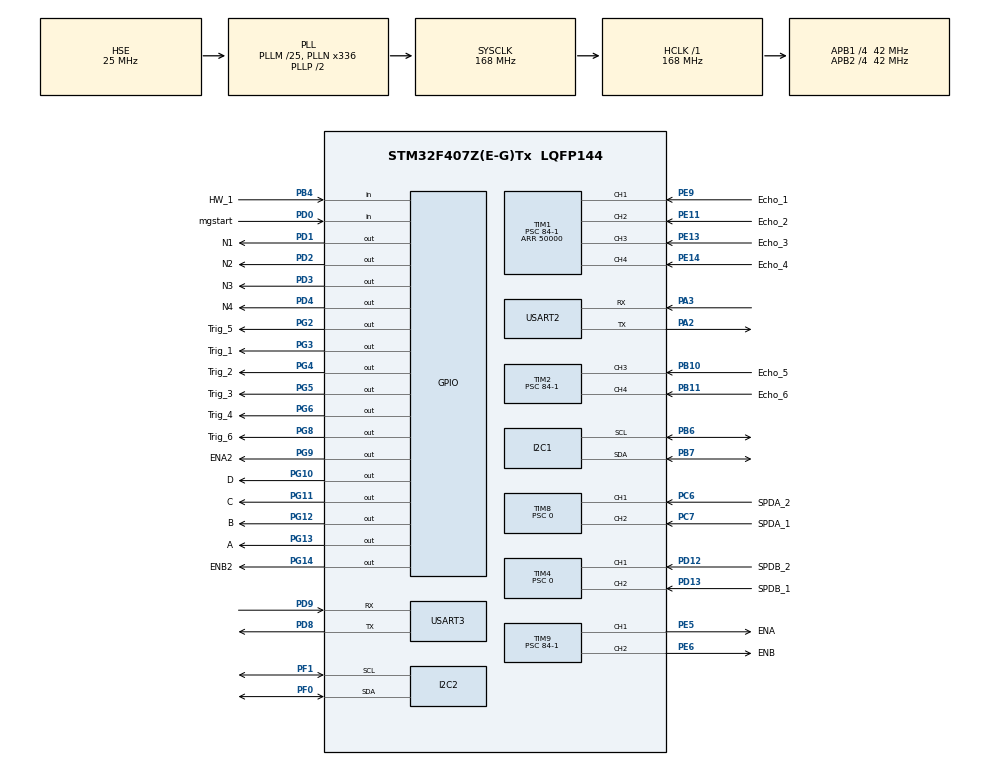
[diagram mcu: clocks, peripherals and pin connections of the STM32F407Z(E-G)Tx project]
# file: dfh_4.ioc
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Dma.Request0=USART2_RX
Dma.Request1=USART2_TX
Dma.Request2=USART3_RX
Dma.Request3=USART3_TX
Dma.USART2_RX.0.Direction=DMA_PERIPH_TO_MEMORY
Dma.USART2_RX.0.FIFOMode=DMA_FIFOMODE_DISABLE
Dma.USART2_RX.0.Instance=DMA1_Stream5
Dma.USART2_RX.0.MemDataAlignment=DMA_MDATAALIGN_BYTE
Dma.USART2_RX.0.MemInc=DMA_MINC_ENABLE
Dma.USART2_RX.0.Mode=DMA_CIRCULAR
Dma.USART2_RX.0.PeriphDataAlignment=DMA_PDATAALIGN_BYTE
Dma.USART2_RX.0.PeriphInc=DMA_PINC_DISABLE
Dma.USART2_RX.0.Priority=DMA_PRIORITY_HIGH
Dma.USART2_TX.1.Direction=DMA_MEMORY_TO_PERIPH
Dma.USART2_TX.1.FIFOMode=DMA_FIFOMODE_DISABLE
Dma.USART2_TX.1.Instance=DMA1_Stream6
Dma.USART2_TX.1.MemDataAlignment=DMA_MDATAALIGN_BYTE
Dma.USART2_TX.1.MemInc=DMA_MINC_ENABLE
Dma.USART2_TX.1.Mode=DMA_NORMAL
Dma.USART2_TX.1.PeriphDataAlignment=DMA_PDATAALIGN_BYTE
Dma.USART2_TX.1.PeriphInc=DMA_PINC_DISABLE
Dma.USART2_TX.1.Priority=DMA_PRIORITY_LOW
Dma.USART3_RX.2.Direction=DMA_PERIPH_TO_MEMORY
Dma.USART3_RX.2.FIFOMode=DMA_FIFOMODE_DISABLE
Dma.USART3_RX.2.Instance=DMA1_Stream1
Dma.USART3_RX.2.MemDataAlignment=DMA_MDATAALIGN_BYTE
Dma.USART3_RX.2.MemInc=DMA_MINC_ENABLE
Dma.USART3_RX.2.Mode=DMA_CIRCULAR
Dma.USART3_RX.2.PeriphDataAlignment=DMA_PDATAALIGN_BYTE
Dma.USART3_RX.2.PeriphInc=DMA_PINC_DISABLE
Dma.USART3_RX.2.Priority=DMA_PRIORITY_HIGH
Dma.USART3_TX.3.Direction=DMA_MEMORY_TO_PERIPH
Dma.USART3_TX.3.FIFOMode=DMA_FIFOMODE_DISABLE
Dma.USART3_TX.3.Instance=DMA1_Stream3
Dma.USART3_TX.3.MemDataAlignment=DMA_MDATAALIGN_BYTE
Dma.USART3_TX.3.MemInc=DMA_MINC_ENABLE
Dma.USART3_TX.3.Mode=DMA_NORMAL
Dma.USART3_TX.3.PeriphDataAlignment=DMA_PDATAALIGN_BYTE
Dma.USART3_TX.3.PeriphInc=DMA_PINC_DISABLE
Dma.USART3_TX.3.Priority=DMA_PRIORITY_LOW
FREERTOS.INCLUDE_vTaskDelayUntil=1
FREERTOS.INCLUDE_xQueueGetMutexHolder=0
FREERTOS.INCLUDE_xSemaphoreGetMutexHolder=0
FREERTOS.Tasks01=defaultTask,0,128,StartDefaultTask,Default,NULL
FREERTOS.configMINIMAL_STACK_SIZE=64
I2C1.I2C_Mode=I2C_Standard
I2C1.NoStretchMode=I2C_NOSTRETCH_DISABLE
Mcu.Family=STM32F4
Mcu.Name=STM32F407Z(E-G)Tx
Mcu.Package=LQFP144
NVIC.DMA1_Stream1_IRQn=true\:5\:0\:false\:false\:true\:true\:false
NVIC.DMA1_Stream3_IRQn=true\:5\:0\:false\:false\:true\:true\:false
NVIC.DMA1_Stream5_IRQn=true\:5\:0\:false\:false\:true\:true\:false
NVIC.DMA1_Stream6_IRQn=true\:5\:0\:false\:false\:true\:true\:false
NVIC.I2C1_ER_IRQn=true\:5\:0\:false\:false\:true\:true\:true
NVIC.I2C1_EV_IRQn=true\:5\:0\:false\:false\:true\:true\:true
NVIC.PriorityGroup=NVIC_PRIORITYGROUP_4
NVIC.TIM1_CC_IRQn=true\:5\:0\:false\:false\:true\:true\:true
NVIC.TIM2_IRQn=true\:5\:0\:false\:false\:true\:true\:true
NVIC.TIM8_TRG_COM_TIM14_IRQn=true\:0\:0\:false\:false\:true\:false\:false
NVIC.TimeBase=TIM8_TRG_COM_TIM14_IRQn
NVIC.TimeBaseIP=TIM14
NVIC.USART2_IRQn=true\:5\:0\:false\:false\:true\:true\:true
NVIC.USART3_IRQn=true\:5\:0\:false\:false\:true\:true\:true
PA13.Mode=Serial_Wire
PA13.Signal=SYS_JTMS-SWDIO
PA14.Mode=Serial_Wire
PA14.Signal=SYS_JTCK-SWCLK
PA2.Mode=Asynchronous
PA2.Signal=USART2_TX
PA3.Mode=Asynchronous
PA3.Signal=USART2_RX
PB10.GPIO_Label=Echo_5
PB10.GPIO_PuPd=GPIO_PULLUP
PB10.GPIO_Speed=GPIO_SPEED_FREQ_HIGH
PB10.Signal=S_TIM2_CH3
PB11.GPIO_Label=Echo_6
PB11.GPIO_PuPd=GPIO_PULLUP
PB11.GPIO_Speed=GPIO_SPEED_FREQ_HIGH
PB11.Signal=S_TIM2_CH4
PB4.GPIO_Label=HW_1
PB4.GPIO_PuPd=GPIO_PULLDOWN
PB4.Signal=GPIO_Input
PB6.GPIO_PuPdOD=GPIO_NOPULL
PB6.Mode=I2C
PB6.Signal=I2C1_SCL
PB7.GPIO_PuPdOD=GPIO_NOPULL
PB7.Mode=I2C
PB7.Signal=I2C1_SDA
PC14-OSC32_IN.Mode=LSE-External-Oscillator
PC14-OSC32_IN.Signal=RCC_OSC32_IN
PC15-OSC32_OUT.Mode=LSE-External-Oscillator
PC15-OSC32_OUT.Signal=RCC_OSC32_OUT
PC6.GPIO_Label=SPDA_2
PC6.GPIO_ModeDefaultPP=GPIO_MODE_AF_PP
PC6.GPIO_Speed=GPIO_SPEED_FREQ_VERY_HIGH
PC6.Signal=S_TIM8_CH1
PC7.GPIO_Label=SPDA_1
PC7.GPIO_ModeDefaultPP=GPIO_MODE_AF_PP
PC7.GPIO_Speed=GPIO_SPEED_FREQ_VERY_HIGH
PC7.Signal=S_TIM8_CH2
PD0.GPIO_Label=mgstart
PD0.GPIO_PuPd=GPIO_PULLDOWN
PD0.Signal=GPIO_Input
PD1.GPIO_Label=N1
PD1.GPIO_ModeDefaultOutputPP=GPIO_MODE_OUTPUT_OD
PD1.GPIO_Speed=GPIO_SPEED_FREQ_HIGH
PD1.Signal=GPIO_Output
PD12.GPIO_Label=SPDB_2
PD12.GPIO_ModeDefaultPP=GPIO_MODE_AF_PP
PD12.GPIO_Speed=GPIO_SPEED_FREQ_VERY_HIGH
PD12.Signal=S_TIM4_CH1
PD13.GPIO_Label=SPDB_1
PD13.GPIO_ModeDefaultPP=GPIO_MODE_AF_PP
PD13.GPIO_Speed=GPIO_SPEED_FREQ_VERY_HIGH
PD13.Signal=S_TIM4_CH2
PD2.GPIO_Label=N2
PD2.GPIO_ModeDefaultOutputPP=GPIO_MODE_OUTPUT_OD
PD2.GPIO_Speed=GPIO_SPEED_FREQ_HIGH
PD2.Signal=GPIO_Output
PD3.GPIO_Label=N3
PD3.GPIO_ModeDefaultOutputPP=GPIO_MODE_OUTPUT_OD
PD3.GPIO_Speed=GPIO_SPEED_FREQ_HIGH
PD3.Signal=GPIO_Output
PD4.GPIO_Label=N4
PD4.GPIO_ModeDefaultOutputPP=GPIO_MODE_OUTPUT_OD
PD4.GPIO_Speed=GPIO_SPEED_FREQ_HIGH
PD4.Signal=GPIO_Output
PD8.GPIO_Speed=GPIO_SPEED_FREQ_HIGH
PD8.Mode=Asynchronous
PD8.Signal=USART3_TX
PD9.GPIO_Speed=GPIO_SPEED_FREQ_VERY_HIGH
PD9.Mode=Asynchronous
PD9.Signal=USART3_RX
PE11.GPIO_Label=Echo_2
PE11.GPIO_PuPd=GPIO_PULLUP
PE11.GPIO_Speed=GPIO_SPEED_FREQ_HIGH
PE11.Signal=S_TIM1_CH2
PE13.GPIO_Label=Echo_3
PE13.GPIO_PuPd=GPIO_PULLUP
PE13.GPIO_Speed=GPIO_SPEED_FREQ_HIGH
PE13.Signal=S_TIM1_CH3
PE14.GPIO_Label=Echo_4
PE14.GPIO_PuPd=GPIO_PULLUP
PE14.GPIO_Speed=GPIO_SPEED_FREQ_HIGH
PE14.Signal=S_TIM1_CH4
PE5.GPIO_Label=ENA
PE5.GPIO_ModeDefaultPP=GPIO_MODE_AF_OD
PE5.GPIO_PuPd=GPIO_PULLDOWN
PE5.GPIO_Speed=GPIO_SPEED_FREQ_VERY_HIGH
PE5.Signal=S_TIM9_CH1
PE6.GPIO_Label=ENB
PE6.GPIO_ModeDefaultPP=GPIO_MODE_AF_OD
PE6.GPIO_PuPd=GPIO_PULLDOWN
PE6.GPIO_Speed=GPIO_SPEED_FREQ_VERY_HIGH
PE6.Signal=S_TIM9_CH2
PE9.GPIO_Label=Echo_1
PE9.GPIO_PuPd=GPIO_PULLUP
PE9.GPIO_Speed=GPIO_SPEED_FREQ_HIGH
PE9.Signal=S_TIM1_CH1
PF0.Mode=I2C
PF0.Signal=I2C2_SDA
PF1.Mode=I2C
PF1.Signal=I2C2_SCL
PG10.GPIO_Label=D
PG10.GPIO_ModeDefaultOutputPP=GPIO_MODE_OUTPUT_PP
PG10.GPIO_PuPd=GPIO_NOPULL
PG10.GPIO_Speed=GPIO_SPEED_FREQ_HIGH
PG10.Signal=GPIO_Output
PG11.GPIO_Label=C
PG11.GPIO_ModeDefaultOutputPP=GPIO_MODE_OUTPUT_PP
PG11.GPIO_Speed=GPIO_SPEED_FREQ_HIGH
PG11.Signal=GPIO_Output
PG12.GPIO_Label=B
PG12.GPIO_ModeDefaultOutputPP=GPIO_MODE_OUTPUT_PP
PG12.GPIO_Speed=GPIO_SPEED_FREQ_HIGH
PG12.Signal=GPIO_Output
PG13.GPIO_Label=A
PG13.GPIO_ModeDefaultOutputPP=GPIO_MODE_OUTPUT_PP
PG13.GPIO_Speed=GPIO_SPEED_FREQ_HIGH
PG13.Signal=GPIO_Output
PG14.GPIO_Label=ENB2
PG14.GPIO_ModeDefaultOutputPP=GPIO_MODE_OUTPUT_PP
PG14.GPIO_Speed=GPIO_SPEED_FREQ_HIGH
PG14.Signal=GPIO_Output
PG2.GPIO_Label=Trig_5
PG2.GPIO_Speed=GPIO_SPEED_FREQ_HIGH
PG2.Signal=GPIO_Output
PG3.GPIO_Label=Trig_1
PG3.GPIO_Speed=GPIO_SPEED_FREQ_HIGH
PG3.Signal=GPIO_Output
PG4.GPIO_Label=Trig_2
PG4.GPIO_Speed=GPIO_SPEED_FREQ_HIGH
PG4.Signal=GPIO_Output
PG5.GPIO_Label=Trig_3
PG5.GPIO_Speed=GPIO_SPEED_FREQ_HIGH
PG5.Signal=GPIO_Output
PG6.GPIO_Label=Trig_4
PG6.GPIO_Speed=GPIO_SPEED_FREQ_HIGH
PG6.Signal=GPIO_Output
PG8.GPIO_Label=Trig_6
PG8.GPIO_Speed=GPIO_SPEED_FREQ_HIGH
PG8.Signal=GPIO_Output
PG9.GPIO_Label=ENA2
PG9.GPIO_ModeDefaultOutputPP=GPIO_MODE_OUTPUT_PP
PG9.GPIO_PuPd=GPIO_NOPULL
PG9.GPIO_Speed=GPIO_SPEED_FREQ_HIGH
PG9.PinState=GPIO_PIN_RESET
PG9.Signal=GPIO_Output
PH0-OSC_IN.Mode=HSE-External-Oscillator
PH0-OSC_IN.Signal=RCC_OSC_IN
PH1-OSC_OUT.Mode=HSE-External-Oscillator
PH1-OSC_OUT.Signal=RCC_OSC_OUT
ProjectManager.HeapSize=0x200
ProjectManager.StackSize=0x400
ProjectManager.TargetToolchain=MDK-ARM V5
RCC.48MHZClocksFreq_Value=84000000
RCC.AHBFreq_Value=168000000
RCC.APB1CLKDivider=RCC_HCLK_DIV4
RCC.APB1Freq_Value=42000000
RCC.APB1TimFreq_Value=84000000
RCC.APB2CLKDivider=RCC_HCLK_DIV4
RCC.APB2Freq_Value=42000000
RCC.APB2TimFreq_Value=84000000
RCC.CortexFreq_Value=168000000
RCC.HCLKFreq_Value=168000000
RCC.HSE_VALUE=25000000
RCC.HSI_VALUE=16000000
RCC.PLLM=25
RCC.PLLN=336
RCC.PLLSourceVirtual=RCC_PLLSOURCE_HSE
RCC.SYSCLKFreq_VALUE=168000000
RCC.SYSCLKSource=RCC_SYSCLKSOURCE_PLLCLK
RCC.VCOOutputFreq_Value=336000000
SH.S_TIM1_CH1.0=TIM1_CH1,Input_Capture1_from_TI1
SH.S_TIM1_CH2.0=TIM1_CH2,Input_Capture2_from_TI2
SH.S_TIM1_CH3.0=TIM1_CH3,Input_Capture3_from_TI3
SH.S_TIM1_CH4.0=TIM1_CH4,Input_Capture4_from_TI4
SH.S_TIM2_CH3.0=TIM2_CH3,Input_Capture3_from_TI3
SH.S_TIM2_CH4.0=TIM2_CH4,Input_Capture4_from_TI4
SH.S_TIM4_CH1.0=TIM4_CH1,Encoder_Interface
SH.S_TIM4_CH2.0=TIM4_CH2,Encoder_Interface
SH.S_TIM8_CH1.0=TIM8_CH1,Encoder_Interface
SH.S_TIM8_CH2.0=TIM8_CH2,Encoder_Interface
SH.S_TIM9_CH1.0=TIM9_CH1,PWM Generation1 CH1
SH.S_TIM9_CH2.0=TIM9_CH2,PWM Generation2 CH2
TIM1.Channel-Input_Capture1_from_TI1=TIM_CHANNEL_1
TIM1.Channel-Input_Capture2_from_TI2=TIM_CHANNEL_2
TIM1.Channel-Input_Capture3_from_TI3=TIM_CHANNEL_3
TIM1.Channel-Input_Capture4_from_TI4=TIM_CHANNEL_4
TIM1.ICPolarity_CH1=TIM_INPUTCHANNELPOLARITY_BOTHEDGE
TIM1.ICPolarity_CH2=TIM_INPUTCHANNELPOLARITY_BOTHEDGE
TIM1.ICPolarity_CH3=TIM_INPUTCHANNELPOLARITY_BOTHEDGE
TIM1.ICPolarity_CH4=TIM_INPUTCHANNELPOLARITY_BOTHEDGE
TIM1.Period=50000
TIM1.Prescaler=84-1
TIM2.Channel-Input_Capture3_from_TI3=TIM_CHANNEL_3
TIM2.Channel-Input_Capture4_from_TI4=TIM_CHANNEL_4
TIM2.ICPolarity_CH3=TIM_INPUTCHANNELPOLARITY_BOTHEDGE
TIM2.ICPolarity_CH4=TIM_INPUTCHANNELPOLARITY_BOTHEDGE
TIM2.Period=50000
TIM2.Prescaler=84-1
TIM4.EncoderMode=TIM_ENCODERMODE_TI12
TIM4.Period=65535
TIM4.Prescaler=0
TIM8.EncoderMode=TIM_ENCODERMODE_TI12
TIM8.Period=65535
TIM8.Prescaler=0
TIM9.Channel-PWM\ Generation1\ CH1=TIM_CHANNEL_1
TIM9.Channel-PWM\ Generation2\ CH2=TIM_CHANNEL_2
TIM9.Period=10000-1
TIM9.Prescaler=84-1
USART2.VirtualMode=VM_ASYNC
USART3.OverSampling=UART_OVERSAMPLING_16
USART3.VirtualMode=VM_ASYNC
VP_FREERTOS_VS_ENABLE.Mode=Enabled
VP_SYS_VS_tim14.Mode=TIM14
VP_TIM1_VS_ClockSourceINT.Mode=Internal
VP_TIM2_VS_ClockSourceINT.Mode=Internal
VP_TIM9_VS_ClockSourceINT.Mode=Internal
board=dfh_4

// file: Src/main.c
/**
  ******************************************************************************
  * File Name          : main.c
  * Description        : Main program body
  ******************************************************************************
  * This notice applies to any and all portions of this file
  * that are not between comment pairs USER CODE BEGIN and
  * USER CODE END. Other portions of this file, whether
  * inserted by the user or by software development tools
  * are owned by their respective copyright owners.
  *
  * Copyright (c) 2017 STMicroelectronics International N.V.
  * All rights reserved.
  *
  * Redistribution and use in source and binary forms, with or without
  * modification, are permitted, provided that the following conditions are met:
  *
  * 1. Redistribution of source code must retain the above copyright notice,
  *    this list of conditions and the following disclaimer.
  * 2. Redistributions in binary form must reproduce the above copyright notice,
  *    this list of conditions and the following disclaimer in the documentation
  *    and/or other materials provided with the distribution.
  * 3. Neither the name of STMicroelectronics nor the names of other
  *    contributors to this software may be used to endorse or promote products
  *    derived from this software without specific written permission.
  * 4. This software, including modifications and/or derivative works of this
  *    software, must execute solely and exclusively on microcontroller or
  *    microprocessor devices manufactured by or for STMicroelectronics.
  * 5. Redistribution and use of this software other than as permitted under
  *    this license is void and will automatically terminate your rights under
  *    this license.
  *
  * THIS SOFTWARE IS PROVIDED BY STMICROELECTRONICS AND CONTRIBUTORS "AS IS"
  * AND ANY EXPRESS, IMPLIED OR STATUTORY WARRANTIES, INCLUDING, BUT NOT
  * LIMITED TO, THE IMPLIED WARRANTIES OF MERCHANTABILITY, FITNESS FOR A
  * PARTICULAR PURPOSE AND NON-INFRINGEMENT OF THIRD PARTY INTELLECTUAL PROPERTY
  * RIGHTS ARE DISCLAIMED TO THE FULLEST EXTENT PERMITTED BY LAW. IN NO EVENT
  * SHALL STMICROELECTRONICS OR CONTRIBUTORS BE LIABLE FOR ANY DIRECT, INDIRECT,
  * INCIDENTAL, SPECIAL, EXEMPLARY, OR CONSEQUENTIAL DAMAGES (INCLUDING, BUT NOT
  * LIMITED TO, PROCUREMENT OF SUBSTITUTE GOODS OR SERVICES; LOSS OF USE, DATA,
  * OR PROFITS; OR BUSINESS INTERRUPTION) HOWEVER CAUSED AND ON ANY THEORY OF
  * LIABILITY, WHETHER IN CONTRACT, STRICT LIABILITY, OR TORT (INCLUDING
  * NEGLIGENCE OR OTHERWISE) ARISING IN ANY WAY OUT OF THE USE OF THIS SOFTWARE,
  * EVEN IF ADVISED OF THE POSSIBILITY OF SUCH DAMAGE.
  *
  ******************************************************************************
  */
#include "main.h"
#include "stm32f4xx_hal.h"
#include "cmsis_os.h"

/* USER CODE BEGIN Includes */
#include "echo.h"
//#include "hmc5983.h"
//#include "flash.h"
#include "moto.h"
#include "uart.h"
#include "math.h"
#include "mpu.h"
//#include "dmpctl.h"
/* USER CODE END Includes */

I2C_HandleTypeDef hi2c1;
I2C_HandleTypeDef hi2c2;

TIM_HandleTypeDef htim1;
TIM_HandleTypeDef htim2;
TIM_HandleTypeDef htim4;
TIM_HandleTypeDef htim8;
TIM_HandleTypeDef htim9;

UART_HandleTypeDef huart2;
UART_HandleTypeDef huart3;
DMA_HandleTypeDef hdma_usart2_rx;
DMA_HandleTypeDef hdma_usart2_tx;
DMA_HandleTypeDef hdma_usart3_rx;
DMA_HandleTypeDef hdma_usart3_tx;

osThreadId defaultTaskHandle;

/* USER CODE BEGIN PV */
/* Private variables ---------------------------------------------------------*/

osThreadId Echo_1Handle;
osThreadId Echo_2Handle;
osThreadId Echo_3Handle;
osThreadId Echo_4Handle;
osThreadId Echo_5Handle;
osThreadId Echo_6Handle;
osThreadId startinitHandle;
osThreadId main_1Handle;

osThreadId moto_jzHandle;
osThreadId moto_controlHandle;
osThreadId TestHandle;
osThreadId mpuHandle;
osThreadId bzHandle;
/* USER CODE END PV */

void SystemClock_Config(void);
static void MX_GPIO_Init(void);
static void MX_DMA_Init(void);
static void MX_TIM1_Init(void);
static void MX_TIM2_Init(void);
static void MX_TIM4_Init(void);
static void MX_USART2_UART_Init(void);
static void MX_TIM9_Init(void);
static void MX_USART3_UART_Init(void);
static void MX_TIM8_Init(void);
static void MX_I2C1_Init(void);
static void MX_I2C2_Init(void);
void StartDefaultTask(void const * argument);

void HAL_TIM_MspPostInit(TIM_HandleTypeDef *htim);

/* USER CODE BEGIN PFP */
/* Private function prototypes -----------------------------------------------*/
 extern uint16_t EDjl1,EDjl2,EDjl3,EDjl4,EDjl5,EDjl6;
 extern int16_t YAW,PITCH,ROLL;
 extern uint16_t SA,SB,Timec;
 extern int16_t SPDA,SPDB;
/* USER CODE END PFP */

/* USER CODE BEGIN 0 */
extern void Echo_1task(void const * argument);
extern void Echo_2task(void const * argument);
extern void Echo_3task(void const * argument);
extern void Echo_4task(void const * argument);
extern void Echo_5task(void const * argument);
extern void Echo_6task(void const * argument);
void startinittask(void const * argument);
void main_1task(void const * argument);
void moto_jztask(void const * argument);
extern void moto_controltask(void const * argument);
extern void mputask(void const * argument);
void Testtask(void const * argument);
extern void bztask(void const * argument);
/* USER CODE END 0 */

int main(void)
{

  /* MCU Configuration----------------------------------------------------------*/

  /* Reset of all peripherals, Initializes the Flash interface and the Systick. */
  HAL_Init();

  /* USER CODE BEGIN Init */
  Echo_Init();

  /* USER CODE END Init */

  /* Configure the system clock */
  SystemClock_Config();

  /* Initialize all configured peripherals */
  MX_GPIO_Init();
  MX_DMA_Init();
  MX_TIM1_Init();
  MX_TIM2_Init();
  MX_TIM4_Init();
  MX_USART2_UART_Init();
  MX_TIM9_Init();
  MX_USART3_UART_Init();
  MX_TIM8_Init();
  MX_I2C1_Init();
  MX_I2C2_Init();

  /* USER CODE BEGIN 2 */
   HAL_TIM_PWM_Start(&htim9,TIM_CHANNEL_1);
   HAL_TIM_PWM_Start(&htim9,TIM_CHANNEL_2);
	HAL_TIM_Base_Start_IT(&htim1);
   HAL_TIM_Base_Start_IT(&htim2);
	HAL_TIM_IC_Start_IT(&htim1,TIM_CHANNEL_1);
	HAL_TIM_IC_Start_IT(&htim1,TIM_CHANNEL_2);
	HAL_TIM_IC_Start_IT(&htim1,TIM_CHANNEL_3);
	HAL_TIM_IC_Start_IT(&htim1,TIM_CHANNEL_4);
	HAL_TIM_IC_Start_IT(&htim2,TIM_CHANNEL_3);
	HAL_TIM_IC_Start_IT(&htim2,TIM_CHANNEL_4);

	HAL_TIM_Encoder_Start(&htim4,TIM_CHANNEL_1);
	HAL_TIM_Encoder_Start(&htim4,TIM_CHANNEL_2);
	HAL_TIM_Encoder_Start(&htim8,TIM_CHANNEL_1);
	HAL_TIM_Encoder_Start(&htim8,TIM_CHANNEL_2);
//	 GPIO_InitTypeDef GPIO_InitStruct;
//	 GPIO_InitStruct.Pin = GPIO_PIN_15;      //此行原有
//    GPIO_InitStruct.Mode = GPIO_MODE_OUTPUT_PP;   //GPIO配置为输出
//    GPIO_InitStruct.Speed = GPIO_SPEED_FREQ_HIGH;         //强上拉
//    HAL_GPIO_Init(GPIOG,&GPIO_InitStruct);
	 //UDelayUS(100000);
	// HAL_GPIO_WritePin(GPIOG, GPIO_PIN_15,GPIO_PIN_SET);
	//HAL_Delay(2000);

  /* USER CODE END 2 */

  /* Create the thread(s) */
  /* definition and creation of defaultTask */
  osThreadDef(defaultTask, StartDefaultTask, osPriorityNormal, 0, 128);
  defaultTaskHandle = osThreadCreate(osThread(defaultTask), NULL);

  /* USER CODE BEGIN RTOS_THREADS */
  /* add threads, ... */
  /* definition and creation of Echo_1 */
  osThreadDef(main_1, main_1task, osPriorityRealtime, 0, 256);
  main_1Handle = osThreadCreate(osThread(main_1), NULL);

  osThreadDef(Echo_1, Echo_1task, osPriorityRealtime, 0, 128);
  Echo_1Handle = osThreadCreate(osThread(Echo_1), NULL);

  /* definition and creation of Echo_2 */
  osThreadDef(Echo_2, Echo_2task, osPriorityRealtime, 0, 128);
  Echo_2Handle = osThreadCreate(osThread(Echo_2), NULL);

  /* definition and creation of Echo_3 */
  osThreadDef(Echo_3, Echo_3task, osPriorityRealtime, 0, 128);
  Echo_3Handle = osThreadCreate(osThread(Echo_3), NULL);

  /* definition and creation of Echo_4 */
  osThreadDef(Echo_4, Echo_4task, osPriorityRealtime, 0, 128);
  Echo_4Handle = osThreadCreate(osThread(Echo_4), NULL);

  osThreadDef(Echo_5,Echo_5task,osPriorityRealtime, 0, 128);
  Echo_5Handle = osThreadCreate(osThread(Echo_5), NULL);

  osThreadDef(Echo_6, Echo_6task, osPriorityRealtime, 0, 128);
  Echo_6Handle = osThreadCreate(osThread(Echo_6), NULL);

//  osThreadDef(startinit, startinittask, osPriorityNormal, 0, 64);
//  startinitHandle = osThreadCreate(osThread(startinit), NULL);

  osThreadDef(moto_control, moto_controltask, osPriorityRealtime, 0, 128);
  moto_controlHandle = osThreadCreate(osThread(moto_control), NULL);
  osThreadDef(moto_jz, moto_jztask, osPriorityRealtime, 0, 128);
  moto_jzHandle = osThreadCreate(osThread(moto_jz), NULL);

	osThreadDef(bz, bztask, osPriorityRealtime, 0,128);  //要调
	bzHandle = osThreadCreate(osThread(bz), NULL);
  /* definition and creation of Echo_5 */

//	osThreadDef(Test, Testtask, osPriorityRealtime, 0, 256);
//	TestHandle = osThreadCreate(osThread(Test), NULL);
  /* definition and creation of Echo_6 */

  osThreadDef(mpu, mputask, osPriorityRealtime, 0, 128);  //要调
  mpuHandle = osThreadCreate(osThread(mpu), NULL);
  /* USER CODE END RTOS_THREADS */

  /* Start scheduler */
  osKernelStart();

  /* We should never get here as control is now taken by the scheduler */

  /* Infinite loop */
  while (1)
  {

  }

}

/** System Clock Configuration
*/
void SystemClock_Config(void)
{

  RCC_OscInitTypeDef RCC_OscInitStruct;
  RCC_ClkInitTypeDef RCC_ClkInitStruct;

    /**Configure the main internal regulator output voltage
    */
  __HAL_RCC_PWR_CLK_ENABLE();

  __HAL_PWR_VOLTAGESCALING_CONFIG(PWR_REGULATOR_VOLTAGE_SCALE1);

    /**Initializes the CPU, AHB and APB busses clocks
    */
  RCC_OscInitStruct.OscillatorType = RCC_OSCILLATORTYPE_HSE;
  RCC_OscInitStruct.HSEState = RCC_HSE_ON;
  RCC_OscInitStruct.PLL.PLLState = RCC_PLL_ON;
  RCC_OscInitStruct.PLL.PLLSource = RCC_PLLSOURCE_HSE;
  RCC_OscInitStruct.PLL.PLLM = 25;
  RCC_OscInitStruct.PLL.PLLN = 336;
  RCC_OscInitStruct.PLL.PLLP = RCC_PLLP_DIV2;
  RCC_OscInitStruct.PLL.PLLQ = 4;
  if (HAL_RCC_OscConfig(&RCC_OscInitStruct) != HAL_OK)
  {
    _Error_Handler(__FILE__, __LINE__);
  }

    /**Initializes the CPU, AHB and APB busses clocks
    */
  RCC_ClkInitStruct.ClockType = RCC_CLOCKTYPE_HCLK|RCC_CLOCKTYPE_SYSCLK
                              |RCC_CLOCKTYPE_PCLK1|RCC_CLOCKTYPE_PCLK2;
  RCC_ClkInitStruct.SYSCLKSource = RCC_SYSCLKSOURCE_PLLCLK;
  RCC_ClkInitStruct.AHBCLKDivider = RCC_SYSCLK_DIV1;
  RCC_ClkInitStruct.APB1CLKDivider = RCC_HCLK_DIV4;
  RCC_ClkInitStruct.APB2CLKDivider = RCC_HCLK_DIV4;

  if (HAL_RCC_ClockConfig(&RCC_ClkInitStruct, FLASH_LATENCY_5) != HAL_OK)
  {
    _Error_Handler(__FILE__, __LINE__);
  }

    /**Configure the Systick interrupt time
    */
  HAL_SYSTICK_Config(HAL_RCC_GetHCLKFreq()/1000);

    /**Configure the Systick
    */
  HAL_SYSTICK_CLKSourceConfig(SYSTICK_CLKSOURCE_HCLK);

  /* SysTick_IRQn interrupt configuration */
  HAL_NVIC_SetPriority(SysTick_IRQn, 15, 0);
}

/* I2C1 init function */
static void MX_I2C1_Init(void)
{

  hi2c1.Instance = I2C1;
  hi2c1.Init.ClockSpeed = 100000;
  hi2c1.Init.DutyCycle = I2C_DUTYCYCLE_2;
  hi2c1.Init.OwnAddress1 = 0;
  hi2c1.Init.AddressingMode = I2C_ADDRESSINGMODE_7BIT;
  hi2c1.Init.DualAddressMode = I2C_DUALADDRESS_DISABLE;
  hi2c1.Init.OwnAddress2 = 0;
  hi2c1.Init.GeneralCallMode = I2C_GENERALCALL_DISABLE;
  hi2c1.Init.NoStretchMode = I2C_NOSTRETCH_DISABLE;
  if (HAL_I2C_Init(&hi2c1) != HAL_OK)
  {
    _Error_Handler(__FILE__, __LINE__);
  }

}

/* I2C2 init function */
static void MX_I2C2_Init(void)
{

  hi2c2.Instance = I2C2;
  hi2c2.Init.ClockSpeed = 100000;
  hi2c2.Init.DutyCycle = I2C_DUTYCYCLE_2;
  hi2c2.Init.OwnAddress1 = 0;
  hi2c2.Init.AddressingMode = I2C_ADDRESSINGMODE_7BIT;
  hi2c2.Init.DualAddressMode = I2C_DUALADDRESS_DISABLE;
  hi2c2.Init.OwnAddress2 = 0;
  hi2c2.Init.GeneralCallMode = I2C_GENERALCALL_DISABLE;
  hi2c2.Init.NoStretchMode = I2C_NOSTRETCH_DISABLE;
  if (HAL_I2C_Init(&hi2c2) != HAL_OK)
  {
    _Error_Handler(__FILE__, __LINE__);
  }

}

/* TIM1 init function */
static void MX_TIM1_Init(void)
{

  TIM_ClockConfigTypeDef sClockSourceConfig;
  TIM_MasterConfigTypeDef sMasterConfig;
  TIM_IC_InitTypeDef sConfigIC;

  htim1.Instance = TIM1;
  htim1.Init.Prescaler = 84-1;
  htim1.Init.CounterMode = TIM_COUNTERMODE_UP;
  htim1.Init.Period = 50000;
  htim1.Init.ClockDivision = TIM_CLOCKDIVISION_DIV1;
  htim1.Init.RepetitionCounter = 0;
  if (HAL_TIM_Base_Init(&htim1) != HAL_OK)
  {
    _Error_Handler(__FILE__, __LINE__);
  }

  sClockSourceConfig.ClockSource = TIM_CLOCKSOURCE_INTERNAL;
  if (HAL_TIM_ConfigClockSource(&htim1, &sClockSourceConfig) != HAL_OK)
  {
    _Error_Handler(__FILE__, __LINE__);
  }

  if (HAL_TIM_IC_Init(&htim1) != HAL_OK)
  {
    _Error_Handler(__FILE__, __LINE__);
  }

  sMasterConfig.MasterOutputTrigger = TIM_TRGO_RESET;
  sMasterConfig.MasterSlaveMode = TIM_MASTERSLAVEMODE_DISABLE;
  if (HAL_TIMEx_MasterConfigSynchronization(&htim1, &sMasterConfig) != HAL_OK)
  {
    _Error_Handler(__FILE__, __LINE__);
  }

  sConfigIC.ICPolarity = TIM_INPUTCHANNELPOLARITY_BOTHEDGE;
  sConfigIC.ICSelection = TIM_ICSELECTION_DIRECTTI;
  sConfigIC.ICPrescaler = TIM_ICPSC_DIV1;
  sConfigIC.ICFilter = 0;
  if (HAL_TIM_IC_ConfigChannel(&htim1, &sConfigIC, TIM_CHANNEL_1) != HAL_OK)
  {
    _Error_Handler(__FILE__, __LINE__);
  }

  if (HAL_TIM_IC_ConfigChannel(&htim1, &sConfigIC, TIM_CHANNEL_2) != HAL_OK)
  {
    _Error_Handler(__FILE__, __LINE__);
  }

  if (HAL_TIM_IC_ConfigChannel(&htim1, &sConfigIC, TIM_CHANNEL_3) != HAL_OK)
  {
    _Error_Handler(__FILE__, __LINE__);
  }

  if (HAL_TIM_IC_ConfigChannel(&htim1, &sConfigIC, TIM_CHANNEL_4) != HAL_OK)
  {
    _Error_Handler(__FILE__, __LINE__);
  }

}

/* TIM2 init function */
static void MX_TIM2_Init(void)
{

  TIM_ClockConfigTypeDef sClockSourceConfig;
  TIM_MasterConfigTypeDef sMasterConfig;
  TIM_IC_InitTypeDef sConfigIC;

  htim2.Instance = TIM2;
  htim2.Init.Prescaler = 84-1;
  htim2.Init.CounterMode = TIM_COUNTERMODE_UP;
  htim2.Init.Period = 50000;
  htim2.Init.ClockDivision = TIM_CLOCKDIVISION_DIV1;
  if (HAL_TIM_Base_Init(&htim2) != HAL_OK)
  {
    _Error_Handler(__FILE__, __LINE__);
  }

  sClockSourceConfig.ClockSource = TIM_CLOCKSOURCE_INTERNAL;
  if (HAL_TIM_ConfigClockSource(&htim2, &sClockSourceConfig) != HAL_OK)
  {
    _Error_Handler(__FILE__, __LINE__);
  }

  if (HAL_TIM_IC_Init(&htim2) != HAL_OK)
  {
    _Error_Handler(__FILE__, __LINE__);
  }

  sMasterConfig.MasterOutputTrigger = TIM_TRGO_RESET;
  sMasterConfig.MasterSlaveMode = TIM_MASTERSLAVEMODE_DISABLE;
  if (HAL_TIMEx_MasterConfigSynchronization(&htim2, &sMasterConfig) != HAL_OK)
  {
    _Error_Handler(__FILE__, __LINE__);
  }

  sConfigIC.ICPolarity = TIM_INPUTCHANNELPOLARITY_BOTHEDGE;
  sConfigIC.ICSelection = TIM_ICSELECTION_DIRECTTI;
  sConfigIC.ICPrescaler = TIM_ICPSC_DIV1;
  sConfigIC.ICFilter = 0;
  if (HAL_TIM_IC_ConfigChannel(&htim2, &sConfigIC, TIM_CHANNEL_3) != HAL_OK)
  {
    _Error_Handler(__FILE__, __LINE__);
  }

  if (HAL_TIM_IC_ConfigChannel(&htim2, &sConfigIC, TIM_CHANNEL_4) != HAL_OK)
  {
    _Error_Handler(__FILE__, __LINE__);
  }

}

/* TIM4 init function */
static void MX_TIM4_Init(void)
{

  TIM_Encoder_InitTypeDef sConfig;
  TIM_MasterConfigTypeDef sMasterConfig;

  htim4.Instance = TIM4;
  htim4.Init.Prescaler = 0;
  htim4.Init.CounterMode = TIM_COUNTERMODE_UP;
  htim4.Init.Period = 65535;
  htim4.Init.ClockDivision = TIM_CLOCKDIVISION_DIV1;
  sConfig.EncoderMode = TIM_ENCODERMODE_TI12;
  sConfig.IC1Polarity = TIM_ICPOLARITY_RISING;
  sConfig.IC1Selection = TIM_ICSELECTION_DIRECTTI;
  sConfig.IC1Prescaler = TIM_ICPSC_DIV1;
  sConfig.IC1Filter = 0;
  sConfig.IC2Polarity = TIM_ICPOLARITY_RISING;
  sConfig.IC2Selection = TIM_ICSELECTION_DIRECTTI;
  sConfig.IC2Prescaler = TIM_ICPSC_DIV1;
  sConfig.IC2Filter = 0;
  if (HAL_TIM_Encoder_Init(&htim4, &sConfig) != HAL_OK)
  {
    _Error_Handler(__FILE__, __LINE__);
  }

  sMasterConfig.MasterOutputTrigger = TIM_TRGO_RESET;
  sMasterConfig.MasterSlaveMode = TIM_MASTERSLAVEMODE_DISABLE;
  if (HAL_TIMEx_MasterConfigSynchronization(&htim4, &sMasterConfig) != HAL_OK)
  {
    _Error_Handler(__FILE__, __LINE__);
  }

}

/* TIM8 init function */
static void MX_TIM8_Init(void)
{

  TIM_Encoder_InitTypeDef sConfig;
  TIM_MasterConfigTypeDef sMasterConfig;

  htim8.Instance = TIM8;
  htim8.Init.Prescaler = 0;
  htim8.Init.CounterMode = TIM_COUNTERMODE_UP;
  htim8.Init.Period = 65535;
  htim8.Init.ClockDivision = TIM_CLOCKDIVISION_DIV1;
  htim8.Init.RepetitionCounter = 0;
  sConfig.EncoderMode = TIM_ENCODERMODE_TI12;
  sConfig.IC1Polarity = TIM_ICPOLARITY_RISING;
  sConfig.IC1Selection = TIM_ICSELECTION_DIRECTTI;
  sConfig.IC1Prescaler = TIM_ICPSC_DIV1;
  sConfig.IC1Filter = 0;
  sConfig.IC2Polarity = TIM_ICPOLARITY_RISING;
  sConfig.IC2Selection = TIM_ICSELECTION_DIRECTTI;
  sConfig.IC2Prescaler = TIM_ICPSC_DIV1;
  sConfig.IC2Filter = 0;
  if (HAL_TIM_Encoder_Init(&htim8, &sConfig) != HAL_OK)
  {
    _Error_Handler(__FILE__, __LINE__);
  }

  sMasterConfig.MasterOutputTrigger = TIM_TRGO_RESET;
  sMasterConfig.MasterSlaveMode = TIM_MASTERSLAVEMODE_DISABLE;
  if (HAL_TIMEx_MasterConfigSynchronization(&htim8, &sMasterConfig) != HAL_OK)
  {
    _Error_Handler(__FILE__, __LINE__);
  }

}

/* TIM9 init function */
static void MX_TIM9_Init(void)
{

  TIM_ClockConfigTypeDef sClockSourceConfig;
  TIM_OC_InitTypeDef sConfigOC;

  htim9.Instance = TIM9;
  htim9.Init.Prescaler = 84-1;
  htim9.Init.CounterMode = TIM_COUNTERMODE_UP;
  htim9.Init.Period = 10000-1;
  htim9.Init.ClockDivision = TIM_CLOCKDIVISION_DIV1;
  if (HAL_TIM_Base_Init(&htim9) != HAL_OK)
  {
    _Error_Handler(__FILE__, __LINE__);
  }

  sClockSourceConfig.ClockSource = TIM_CLOCKSOURCE_INTERNAL;
  if (HAL_TIM_ConfigClockSource(&htim9, &sClockSourceConfig) != HAL_OK)
  {
    _Error_Handler(__FILE__, __LINE__);
  }

  if (HAL_TIM_PWM_Init(&htim9) != HAL_OK)
  {
    _Error_Handler(__FILE__, __LINE__);
  }

  sConfigOC.OCMode = TIM_OCMODE_PWM1;
  sConfigOC.Pulse = 0;
  sConfigOC.OCPolarity = TIM_OCPOLARITY_HIGH;
  sConfigOC.OCFastMode = TIM_OCFAST_DISABLE;
  if (HAL_TIM_PWM_ConfigChannel(&htim9, &sConfigOC, TIM_CHANNEL_1) != HAL_OK)
  {
    _Error_Handler(__FILE__, __LINE__);
  }

  if (HAL_TIM_PWM_ConfigChannel(&htim9, &sConfigOC, TIM_CHANNEL_2) != HAL_OK)
  {
    _Error_Handler(__FILE__, __LINE__);
  }

  HAL_TIM_MspPostInit(&htim9);

}

/* USART2 init function */
static void MX_USART2_UART_Init(void)
{

  huart2.Instance = USART2;
  huart2.Init.BaudRate = 115200;
  huart2.Init.WordLength = UART_WORDLENGTH_8B;
  huart2.Init.StopBits = UART_STOPBITS_1;
  huart2.Init.Parity = UART_PARITY_NONE;
  huart2.Init.Mode = UART_MODE_TX_RX;
  huart2.Init.HwFlowCtl = UART_HWCONTROL_NONE;
  huart2.Init.OverSampling = UART_OVERSAMPLING_16;
  if (HAL_UART_Init(&huart2) != HAL_OK)
  {
    _Error_Handler(__FILE__, __LINE__);
  }

}

/* USART3 init function */
static void MX_USART3_UART_Init(void)
{

  huart3.Instance = USART3;
  huart3.Init.BaudRate = 115200;
  huart3.Init.WordLength = UART_WORDLENGTH_8B;
  huart3.Init.StopBits = UART_STOPBITS_1;
  huart3.Init.Parity = UART_PARITY_NONE;
  huart3.Init.Mode = UART_MODE_TX_RX;
  huart3.Init.HwFlowCtl = UART_HWCONTROL_NONE;
  huart3.Init.OverSampling = UART_OVERSAMPLING_16;
  if (HAL_UART_Init(&huart3) != HAL_OK)
  {
    _Error_Handler(__FILE__, __LINE__);
  }

}

static void MX_DMA_Init(void)
{
  /* DMA controller clock enable */
  __HAL_RCC_DMA1_CLK_ENABLE();

  /* DMA interrupt init */
  /* DMA1_Stream1_IRQn interrupt configuration */
  HAL_NVIC_SetPriority(DMA1_Stream1_IRQn, 5, 0);
  HAL_NVIC_EnableIRQ(DMA1_Stream1_IRQn);
  /* DMA1_Stream3_IRQn interrupt configuration */
  HAL_NVIC_SetPriority(DMA1_Stream3_IRQn, 5, 0);
  HAL_NVIC_EnableIRQ(DMA1_Stream3_IRQn);
  /* DMA1_Stream5_IRQn interrupt configuration */
  HAL_NVIC_SetPriority(DMA1_Stream5_IRQn, 5, 0);
  HAL_NVIC_EnableIRQ(DMA1_Stream5_IRQn);
  /* DMA1_Stream6_IRQn interrupt configuration */
  HAL_NVIC_SetPriority(DMA1_Stream6_IRQn, 5, 0);
  HAL_NVIC_EnableIRQ(DMA1_Stream6_IRQn);

}

/** Configure pins as
        * Analog
        * Input
        * Output
        * EVENT_OUT
        * EXTI
*/
static void MX_GPIO_Init(void)
{

  GPIO_InitTypeDef GPIO_InitStruct;

  /* GPIO Ports Clock Enable */
  __HAL_RCC_GPIOE_CLK_ENABLE();
  __HAL_RCC_GPIOC_CLK_ENABLE();
  __HAL_RCC_GPIOF_CLK_ENABLE();
  __HAL_RCC_GPIOH_CLK_ENABLE();
  __HAL_RCC_GPIOA_CLK_ENABLE();
  __HAL_RCC_GPIOB_CLK_ENABLE();
  __HAL_RCC_GPIOD_CLK_ENABLE();
  __HAL_RCC_GPIOG_CLK_ENABLE();

  /*Configure GPIO pin Output Level */
  HAL_GPIO_WritePin(GPIOG, Trig_5_Pin|Trig_1_Pin|Trig_2_Pin|Trig_3_Pin
                          |Trig_4_Pin|Trig_6_Pin|D_Pin|C_Pin
                          |B_Pin|A_Pin|ENB2_Pin|ENA2_Pin, GPIO_PIN_RESET);

  /*Configure GPIO pin Output Level */
  HAL_GPIO_WritePin(GPIOD, N1_Pin|N2_Pin|N3_Pin|N4_Pin, GPIO_PIN_RESET);

  /*Configure GPIO pin : HW_1_Pin */
  GPIO_InitStruct.Pin = HW_1_Pin;
  GPIO_InitStruct.Mode = GPIO_MODE_INPUT;
  GPIO_InitStruct.Pull = GPIO_PULLDOWN;
  HAL_GPIO_Init(HW_1_GPIO_Port, &GPIO_InitStruct);

  /*Configure GPIO pins : Trig_5_Pin Trig_1_Pin Trig_2_Pin Trig_3_Pin
                           Trig_4_Pin Trig_6_Pin */
  GPIO_InitStruct.Pin = Trig_5_Pin|Trig_1_Pin|Trig_2_Pin|Trig_3_Pin
                          |Trig_4_Pin|Trig_6_Pin;
  GPIO_InitStruct.Mode = GPIO_MODE_OUTPUT_PP;
  GPIO_InitStruct.Pull = GPIO_NOPULL;
  GPIO_InitStruct.Speed = GPIO_SPEED_FREQ_HIGH;
  HAL_GPIO_Init(GPIOG, &GPIO_InitStruct);

  /*Configure GPIO pin : mgstart_Pin */
  GPIO_InitStruct.Pin = mgstart_Pin;
  GPIO_InitStruct.Mode = GPIO_MODE_INPUT;
  GPIO_InitStruct.Pull = GPIO_PULLDOWN;
  HAL_GPIO_Init(mgstart_GPIO_Port, &GPIO_InitStruct);

  /*Configure GPIO pins : N1_Pin N2_Pin N3_Pin N4_Pin */
  GPIO_InitStruct.Pin = N1_Pin|N2_Pin|N3_Pin|N4_Pin;
  GPIO_InitStruct.Mode = GPIO_MODE_OUTPUT_OD;
  GPIO_InitStruct.Pull = GPIO_NOPULL;
  GPIO_InitStruct.Speed = GPIO_SPEED_FREQ_HIGH;
  HAL_GPIO_Init(GPIOD, &GPIO_InitStruct);

  /*Configure GPIO pins : D_Pin C_Pin B_Pin A_Pin
                           ENB2_Pin ENA2_Pin */
  GPIO_InitStruct.Pin = D_Pin|C_Pin|B_Pin|A_Pin
                          |ENB2_Pin|ENA2_Pin;
  GPIO_InitStruct.Mode = GPIO_MODE_OUTPUT_PP;
  GPIO_InitStruct.Pull = GPIO_NOPULL;
  GPIO_InitStruct.Speed = GPIO_SPEED_FREQ_HIGH;
  HAL_GPIO_Init(GPIOG, &GPIO_InitStruct);

}

/* USER CODE BEGIN 4 */
extern uint8_t moto_control1;

void startinittask(void const * argument)
{
	uint8_t aa = 0;
	//uint16_t shudu = 300;
	for(;;)
	{
		if(HAL_GPIO_ReadPin(mgstart_GPIO_Port,mgstart_Pin) == 0)
		{
			osDelay(10);
			if(HAL_GPIO_ReadPin(mgstart_GPIO_Port,mgstart_Pin) == 0)
			{
				osDelay(300);
				if(HAL_GPIO_ReadPin(mgstart_GPIO_Port,mgstart_Pin) == 1)
				{
					if(aa !=1)
					{
					   Echo_Init();
						TIM3->CCR1 = 500;
						moto_stop();
						moto_control1 = 0;
						osThreadDef(main_1, main_1task, osPriorityRealtime, 0, 128);
	               main_1Handle = osThreadCreate(osThread(main_1), NULL);
						osThreadDef(bz, bztask, osPriorityRealtime, 0, 128);  //要调
                  bzHandle = osThreadCreate(osThread(bz), NULL);
					   if(aa == 2) vTaskDelete(TestHandle);
					   aa = 1;
						vTaskSuspend(mpuHandle);

					}
					else
					{
						 vTaskDelete(main_1Handle);
					vTaskDelete(bzHandle);
						aa = 0;
						moto_stop();
						moto_control1 = 0;
					}

				}
				else
				{
					if(aa !=1)
					{
					while(HAL_GPIO_ReadPin(mgstart_GPIO_Port,mgstart_Pin) == 0){}
					osThreadDef(Test, Testtask, osPriorityNormal, 0, 256);
            	TestHandle = osThreadCreate(osThread(Test), NULL);
					aa = 2;
					}
				}
			}
		}
		osDelay(10);

  }
}

extern int32_t setSPA,setSPB;
int32_t setSPEED,speed;
uint8_t setangle,angleJS,motofrontorturn,setfangx = 0;//前后
extern int16_t ReadDisA,ReadDisB;

<<<<<<< HEAD
#define LowSpeed 5000
#define TurnDis 150
=======
#define LowSpeed 3000
#define TurnDis 140
>>>>>>> parent of 415e836... 淇敼3
#define LowDis 400
#define ChangeDis 300 //距离变化最大值
#define TurnTime 5

#define Turnworkdis 370 //检测转弯后继续行走距离

#define frontJ 1
#define backJ 2
#define front 5
#define back 6
#define right 4
#define left 3

void main_1task(void const * argument)
{
	//setangle = 0;
	angleJS = 0;
	motofrontorturn = 0;
<<<<<<< HEAD
	setSPEED = 9999;
	osDelay(500);
=======
	setSPEED = 7000;
	osDelay(1000);
>>>>>>> parent of 415e836... 淇敼3
	vTaskSuspend(mpuHandle);
	//HAL_GPIO_WritePin(GPIOG, GPIO_PIN_15,GPIO_PIN_SET);
	TickType_t xLastWakeTime;
	const TickType_t xFrequency = 5;
	xLastWakeTime = xTaskGetTickCount();
	for(;;)
	{
//		        ulTaskNotifyTake(pdTRUE,
//                 portMAX_DELAY); /* 无限等待 */
		//echo_1();

		switch(angleJS)//4为右 3为左
		{
			case 0:
			{
				if(EDjl1>LowDis)
				{
					if(EDjl2 > ChangeDis)
					{
						speed = LowSpeed;
						moto_control1 = front;
					}
					else
					{
						speed = setSPEED;
						moto_control1 = frontJ;
					}
				}
				else
				{
						speed = LowSpeed;
					 if(EDjl5 > ChangeDis)
					 {
						 if(EDjl3 < ChangeDis)
						 {
							 if(EDjl1 < TurnDis)
							{
								moto_control1 = right;
								vTaskSuspend(main_1Handle);
								angleJS = 1;
							}
						}
					}
				}
			}
			break;
			case 1:
			{
				if(EDjl1 > ChangeDis)
				{
					speed = setSPEED;
					moto_control1 = frontJ;
				}
				else
				{
					speed = LowSpeed;
					if(EDjl5 > ChangeDis)
					{
						if(EDjl3 < ChangeDis)
						{
							if(EDjl1 < TurnDis)
						   {
								moto_control1 = right;
								vTaskSuspend(main_1Handle);
								angleJS = 2;
							}
						}
					}
				}
			}
			break;
			case 2:
			{
				do
				{
					moto_control1 = frontJ;
					speed = setSPEED;
					osDelayUntil(&xLastWakeTime, xFrequency);
				}
				while(EDjl4 > ChangeDis);
				while(EDjl4 < ChangeDis)
				{
					moto_control1 = frontJ;
					speed = setSPEED;
					osDelayUntil(&xLastWakeTime, xFrequency);
				}
				while(EDjl4 > ChangeDis)
				{
					moto_control1 = frontJ;
					speed = LowSpeed;
               if(EDjl5 > ChangeDis)
					{
						moto_control1 = 0;
						moto_frontDis(Turnworkdis,Turnworkdis,LowSpeed);
						moto_control1 = left;
						vTaskSuspend(main_1Handle);
						angleJS = 3;
						break;
					}
					osDelayUntil(&xLastWakeTime, xFrequency);
				}
			}
	      break;
			case 3:
			{
				if(EDjl6 > LowDis)
				{
					if(EDjl3 > ChangeDis)
					{
						moto_control1 = back;
						speed = setSPEED;
					}
					else
					{
						moto_control1 = backJ;
						speed = setSPEED;
					}
				}
				else
				{
					if(EDjl5 > ChangeDis)
					{
						if(EDjl6 < TurnDis)
						{
							if(EDjl4 > ChangeDis)
							{

								moto_control1 = left;
								vTaskSuspend(main_1Handle);
								angleJS = 4;
							}
						}
						else
						{
							moto_control1 = back;
							speed = LowSpeed;
						}
					}
				}
			}
			break;
			case 4:
			{
				do
				{
					moto_control1 = backJ;
					speed = setSPEED;
					osDelayUntil(&xLastWakeTime, xFrequency);
				}
				while(EDjl5 > ChangeDis);
				while(EDjl5 < ChangeDis)
				{
					moto_control1 = backJ;
					speed = setSPEED;
					osDelayUntil(&xLastWakeTime, xFrequency);
				}
				while(EDjl5 > ChangeDis)
				{
					moto_control1 = backJ;
					speed = LowSpeed;
               if(EDjl4 > ChangeDis)
					{
						moto_control1 = 0;
						moto_backDis(Turnworkdis,Turnworkdis,LowSpeed);
						moto_control1 = right;
						vTaskSuspend(main_1Handle);
						angleJS = 5;
						break;
					}
					osDelayUntil(&xLastWakeTime, xFrequency);
				}
			}
	      break;
			case 5:
			{
				if(EDjl1 > LowDis)
				{
					if(EDjl2 > ChangeDis)
					{
						moto_control1 = front;
						speed = setSPEED;
					}
					else
					{
						moto_control1 = frontJ;
						speed = setSPEED;
					}
				}
				else
				{
					if(EDjl4 > ChangeDis)
					{
						if(EDjl1 < TurnDis)
						{
							if(EDjl5 > ChangeDis)
							{

								moto_control1 = right;
								vTaskSuspend(main_1Handle);
								angleJS = 6;

							}
						}
						else
						{
							moto_control1 = front;
							speed = LowSpeed;
						}
					}
				}
			}
			break;
//			case 6:
//			{
//            setfangx ++;
// 				if(setfangx == 2) angleJS = 7;
//				else angleJS = 2;
//			}
//	      break;
			case 6:
			{
				do
				{
					moto_control1 = frontJ;
					speed = setSPEED;
					osDelayUntil(&xLastWakeTime, xFrequency);
				}
				while(EDjl4 > ChangeDis);
				while(EDjl4 < ChangeDis)
				{
					moto_control1 = frontJ;
					speed = setSPEED;
					osDelayUntil(&xLastWakeTime, xFrequency);
				}
				while(EDjl4 > ChangeDis)
				{
					moto_control1 = frontJ;
					speed = LowSpeed;
               if(EDjl5 > ChangeDis)
					{
						moto_control1 = 0;
						moto_frontDis(Turnworkdis,Turnworkdis,LowSpeed);
						moto_control1 = left;
						vTaskSuspend(main_1Handle);
						angleJS = 7;
						break;
						//goto s;
					}
					osDelayUntil(&xLastWakeTime, xFrequency);
				}

			}
	      break;
			case 7:
			{
				if(EDjl6 > LowDis)
				{
					if(EDjl3 > ChangeDis)
					{
						moto_control1 = back;
						speed = setSPEED;
					}
					else
					{
						moto_control1 = backJ;
						speed = setSPEED;
					}
				}
				else
				{
					if(EDjl5 > ChangeDis)
					{
						if(EDjl6 < TurnDis)
						{
							if(EDjl4 > ChangeDis)
							{

								moto_control1 = left;
								vTaskSuspend(main_1Handle);
								angleJS = 8;
							}
						}
						else
						{
							moto_control1 = back;
							speed = LowSpeed;
						}
					}
				}
			}
			break;
			case 8:
			{
				do
				{
					moto_control1 = backJ;
					speed = setSPEED;
					osDelayUntil(&xLastWakeTime, xFrequency);
				}
				while(EDjl5 > ChangeDis);
				while(EDjl5 < ChangeDis)
				{
					moto_control1 = backJ;
					speed = setSPEED;
					osDelayUntil(&xLastWakeTime, xFrequency);
				}
				while(EDjl5 > ChangeDis)
				{
					moto_control1 = backJ;
					speed = LowSpeed;
               if(EDjl4 > ChangeDis)
					{
						moto_control1 = 0;
						moto_backDis(Turnworkdis,Turnworkdis,LowSpeed);
						moto_control1 = right;
						vTaskSuspend(main_1Handle);
						angleJS = 9;
						break;
					}
					osDelayUntil(&xLastWakeTime, xFrequency);
				}
			}
	      break;
			case 9:
			{
				if(EDjl1 > LowDis)
				{
					if(EDjl2 > ChangeDis)
					{
						moto_control1 = front;
						speed = setSPEED;
					}
					else
					{
						moto_control1 = frontJ;
						speed = setSPEED;
					}
				}
				else
				{
					if(EDjl4 > ChangeDis)
					{
						if(EDjl1 < TurnDis)
						{
							if(EDjl5 > ChangeDis)
							{

								moto_control1 = right;
								vTaskSuspend(main_1Handle);
								angleJS = 10;

							}
						}
						else
						{
							moto_control1 = front;
							speed = LowSpeed;
						}
					}
				}
			}
			break;
			case 10:
			{
				do
				{
					moto_control1 = frontJ;
					speed = setSPEED;
					osDelayUntil(&xLastWakeTime, xFrequency);
				}
				while(EDjl4 > ChangeDis);
				while(EDjl4 < ChangeDis)
				{
					moto_control1 = frontJ;
					speed = setSPEED;
					osDelayUntil(&xLastWakeTime, xFrequency);
				}
				while(EDjl4 > ChangeDis)
				{
					moto_control1 = frontJ;
					speed = LowSpeed;
               if(EDjl1 < TurnDis)
					{
						moto_control1 = right;
						vTaskSuspend(main_1Handle);
						angleJS = 11;
						break;
					}
					osDelayUntil(&xLastWakeTime, xFrequency);
				}
			}
			break;
			case 11:
			{
				if(EDjl1>LowDis)
				{
					speed = setSPEED;
					moto_control1 = frontJ;
				}
				else
				{
					speed = LowSpeed;
					moto_control1 = front;
					 if(EDjl4 > ChangeDis)
					 {
						// if(EDjl5 > ChangeDis)
						 //{
							 if(EDjl1 < TurnDis)
							{
								moto_control1 = right;
								vTaskSuspend(main_1Handle);
								angleJS = 12;
							}
						//}
					}
				}
			}
			break;
			case 12:
			{
				if(EDjl2 < ChangeDis)
				{
					speed = setSPEED;
					moto_control1 = backJ;
				}
				else
				{
					moto_control1 = 0;
					moto_stop();
					angleJS = 14;
				}
			}
			break;
			default:break;
		}

//		if(angleJS<10)   ///3为右 4为左
//		{
//					if(setangle == 1)
//					{
//						if(EDjl1>LowDis)
//						{
//							if(EDjl3>300)
//							{
//								if(EDjl5>300)
//								{
//									if(motofrontorturn == 0)
//									{
//										if(!(EDjl2<300&EDjl4<300))
//										{
//											speed = LowSpeed;
//											moto_control1 = 5;
//										}
//									}
//								}
//							}
//							if(EDjl2>300)
//							{
////								if(EDjl3>300)////改过
////								{
////									if(EDjl5>300)
////									{
//////										setSPA = 3000;
//////										setSPB = 3000;
//////										moto_front();
////									}
////								}
//							}
//							else
//							{
//								  if(angleJS>=2)
//								  {
//									  if(EDjl5<300)
//									  {
//										  if(EDjl3<300)
//										  {
//											  motofrontorturn = 1;
//										  }
//									  }
//								  }
//								  if(EDjl4<300)
//								  {
//									speed = setSPEED;
//
//									moto_control1 = 1;
//								  }/////？？？？
//								if(EDjl3<300)
//								{
//                           speed = setSPEED;
//
//									moto_control1 = 1;
//									if(EDjl4>300&angleJS>=2)//g
//									 {
//										 if(motofrontorturn == 1)
//										 {
//											 if(EDjl5>300)//g
//											 {
//													moto_control1 = 4;
//													vTaskSuspend(main_1Handle);
//													angleJS++;///js = 3
//													setangle = 0;
//													motofrontorturn = 0;
//											 }
//										 }
//									}
//								 }
//							}

//						}
//						else
//						{
//							if(angleJS<2)
//							{
//								if(EDjl2<300)
//								{
//									if(EDjl3<300)
//									{
//
//										if(EDjl1<TurnDis)
//										{
//											if(EDjl4>300)
//											{
//												if(EDjl5>300)
//												{
//													moto_control1 = 3;
//													vTaskSuspend(main_1Handle);
//													angleJS++;
//													motofrontorturn = 0;
//												}
//											}
//										}
//										else
//										{
//											speed = LowSpeed;
//
//											moto_control1 = 1;
//										}
//									}
//								}
//							}
//							else
//							{
//								//if(angleJS<10)
//								//{
//									if(EDjl1<TurnDis)
//									{
//										if(EDjl3>300)
//										{
//											if(EDjl5>300)
//											{
//												moto_control1 = 3;
//												vTaskSuspend(main_1Handle);
//												angleJS++;	///666666
//												motofrontorturn = 0;
//											}
//										}
//
//									}
//									else
//									{
//											speed = LowSpeed;
//											moto_control1 = 5;
//
//									}
//
//
//							//}
//						}
//						}
//					}
//					else ///setangle = 0;
//					{
//						if(EDjl1<LowDis)//g
//						{
//							if(EDjl2>300)
//							{
//								if(EDjl4>300)
//								{
//									if(motofrontorturn == 0)
//									{
//										speed = LowSpeed;
//										moto_control1 = 6;
//
//									}
//								}
//							}
//						}
//						else
//						{
//							if(EDjl3<300)
//							{
//									speed = setSPEED;
//								    //moto_back();//g
//									moto_control1 = 2;
//								if(EDjl4<300) motofrontorturn = 1;
//								else
//								{
//									if(EDjl5>300)
//									{
//										if(motofrontorturn == 1)
//										{
//											moto_control1 = 3;
//											vTaskSuspend(main_1Handle);
//											angleJS++; ///5555
//											motofrontorturn = 0;
//											setangle = 1;
//										}
//									}
//								}
//							}
//							if(EDjl6<=LowDis&setangle == 0)
//							{
//								if(EDjl3>300)
//								{
//									speed = LowSpeed;
//									moto_control1 = 6;
//
//									if(EDjl5>300)
//									{
//										if(EDjl4>300)
//										{
//											if(EDjl6<TurnDis)
//											{
//												moto_control1 = 4;
//												vTaskSuspend(main_1Handle);
//												angleJS++; // 44444
//												motofrontorturn = 0;
//
//											}
//
//										}
//									}
//								}
//							}
//						}
//					}
//			//		if(angleJS == 2)
//			//		{
//			//			moto_stop();
//			//			moto_control1 = 0;
//			//		}
//
//		}
//      else
//		{
//			if(EDjl1>LowDis)
//			{
//			  if(EDjl2<300)
//			  {
//				  if(EDjl3<300)
//				  {
//					  if(motofrontorturn != 2)
//					  {
//						speed = setSPEED;
//
//						moto_control1 = 1;
//					  }
//					  else
//					  {
//						speed = setSPEED;
//
//						moto_control1 = 2;
//					  }
//				  }
//			  }
//			  else
//			  {
//				  if(EDjl4>300)
//				  {
//					  if(angleJS >= 12)
//					  {
//						  if(EDjl3>300)
//						  {
//							  osDelay(500);
//							  moto_stop();
//							  moto_control1 = 0;
//							  vTaskDelete(main_1Handle);
//						  }
//					  }
//				  }
//			  }
//		   }
//			else
//			{
//				if(EDjl2<300)
//				{
//					if(EDjl3<300)
//					{
//						if(EDjl1<TurnDis)
//						{
//							if(EDjl5>300)
//							{
//								moto_control1 = 3;
//								vTaskSuspend(main_1Handle);
//								angleJS++;
//								//motofrontorturn = 0;
//							}
//						}
//						else
//						{
//							speed = LowSpeed;
//
//							moto_control1 = 1;
//						}
//					}
//				}
//				else
//				{
//					if(EDjl1<TurnDis)
//					{
//						if(EDjl3>300)
//						{
//							moto_control1 = 3;
//						   vTaskSuspend(main_1Handle);
//						   angleJS++;
//							//moto_back();
//							//moto_control1 = 2;
//							motofrontorturn = 2;
//						}
//					}
//					else
//					{
//							speed = LowSpeed;
//
//							moto_control1 = 5;
//					}
//				}
//			}
//		}

		osDelayUntil(&xLastWakeTime, xFrequency);
		//osDelay (5);
	}
}

void Testtask(void const * argument)
{
  /* USER CODE BEGIN StartTask05 */
  /* Infinite loop */
	//uint8_t JL[] = {"前    cm左   cm右   cm后   cm"};
	uint16_t c;
uint8_t JL[] = {"F---.- L---.- E---.- R---.- G---.- B---.- ---°  -----, -----, ----- --- ---\n\r"};
//uint8_t JL1[] = {"--------------------------\n\r"};
	TickType_t xLastWakeTime;
	const TickType_t xFrequency = 20;
	xLastWakeTime = xTaskGetTickCount();
  for(;;)
  {

		print_usart2("F%d\r\nL%d\r\nE%d\r\nR%d\r\nG%d\r\nB%d\r\n",EDjl1,EDjl2,EDjl3,EDjl4,EDjl5,EDjl6);

	    //angle1 = angle;
	   //JL[1] = echo1[0]/10000+48;
		JL[1] = EDjl1%10000/1000+48;
		JL[2] = EDjl1%10000%1000/100+48;
		JL[3] = EDjl1%10000%1000%100/10+48;
	   JL[5] = EDjl1%10000%1000%100%10+48;

	  //	JL[11] = echo1[1]/10000+48;
		JL[8] = EDjl2%10000/1000+48;
		JL[9] = EDjl2%10000%1000/100+48;
		JL[10] = EDjl2%10000%1000%100/10+48;
	   JL[12] = EDjl2%10000%1000%100%10+48;

	  // JL[21] = EDjl1/10000+48;
		JL[15] = EDjl3%10000/1000+48;
		JL[16] = EDjl3%10000%1000/100+48;
		JL[17] = EDjl3%10000%1000%100/10+48;
	   JL[19] = EDjl3%10000%1000%100%10+48;

   	//JL[14] = EDjl4/10000+48;
		JL[22] = EDjl4%10000/1000+48;
		JL[23] = EDjl4%10000%1000/100+48;
		JL[24] = EDjl4%10000%1000%100/10+48;
	   JL[26] = EDjl4%10000%1000%100%10+48;

		JL[29] = EDjl5%10000/1000+48;
		JL[30] = EDjl5%10000%1000/100+48;
		JL[31] = EDjl5%10000%1000%100/10+48;
	   JL[33] = EDjl5%10000%1000%100%10+48;

   	//JL[14] = EDjl4/10000+48;
		JL[36] = EDjl6%10000/1000+48;
		JL[37] = EDjl6%10000%1000/100+48;
		JL[38] = EDjl6%10000%1000%100/10+48;
	   JL[40] = EDjl6%10000%1000%100%10+48;

//		JL[42] = angle1/100+48;
//		JL[43] = angle1%100/10+48;
//	   JL[44] = angle1%100%10+48;

		if(YAW<0) JL[48] = '-',c = -YAW;
		else JL[48] = ' ',c = YAW;

		JL[49] = c/10000+48;
		JL[50] = c%10000/1000+48;
	   JL[51] = c%10000%1000/100+48;
		JL[52] = c%10000%1000%100/10+48;
		JL[53] = c%10000%1000%100%10+48;

		if(PITCH<0) JL[55] = '-',c = -PITCH;
		else JL[55] = ' ',c = PITCH;

		JL[56] = c/10000+48;
		JL[57] = c%10000/1000+48;
	   JL[58] = c%10000%1000/100+48;
		JL[59] = c%10000%1000%100/10+48;
		JL[60] = c%10000%1000%100%10+48;

		if(ROLL<0) JL[62] = '-',c = -ROLL;
		else JL[62] = ' ',c = ROLL;

		JL[63] = c/10000+48;
		JL[64] = c%10000/1000+48;
	   JL[65] = c%10000%1000/100+48;
		JL[66] = c%10000%1000%100/10+48;
		JL[67] = c%10000%1000%100%10+48;

		JL[69] = SPDA/100+48;
		JL[70] = SPDA%100/10+48;
		JL[71] = SPDA%100%10+48;

		JL[73] = SPDB/100+48;
		JL[74] = SPDB%100/10+48;
		JL[75] = SPDB%100%10+48;
//		JL[9] = EDjl2/100+48;
//		JL[10] = EDjl2%100/10+48;
//		JL[11] = EDjl2%100%10+48;
//
//		JL[16] = EDjl3/100+48;
//		JL[17] = EDjl3%100/10+48;
//		JL[18] = EDjl3%100%10+48;
//
//		JL[23] = EDjl4/100+48;
//		JL[24] = EDjl4%100/10+48;
//		JL[25] = EDjl4%100%10+48;
	// HAL_UART_Transmit_DMA(&huart3,JL,78);
	 osDelayUntil(&xLastWakeTime, xFrequency);
  }
  /* USER CODE END StartTask05 */
}

/* USER CODE END 4 */

/* StartDefaultTask function */
void StartDefaultTask(void const * argument)
{

  for(;;)
  {
		osDelay(1);
  }
}

void HAL_TIM_PeriodElapsedCallback(TIM_HandleTypeDef *htim)
{
  if (htim->Instance == TIM14) {
    HAL_IncTick();
  if(Timec == 25)
  {
	  Timec = 0;
	 SPDA = __HAL_TIM_GET_COUNTER(&htim8);
	 SPDB = __HAL_TIM_GET_COUNTER(&htim4);
	  ReadDisA = ReadDisA + SPDA;
	  ReadDisB = ReadDisB + SPDB;
	  __HAL_TIM_SET_COUNTER(&htim8,0);
	  __HAL_TIM_SET_COUNTER(&htim4,0);
  }
  else Timec ++;
  }
/* USER CODE BEGIN Callback 1 */
//  if(Timec == 25)
//  {
//	  Timec = 0;
//	 SPDA = __HAL_TIM_GET_COUNTER(&htim8);
//	 SPDB = __HAL_TIM_GET_COUNTER(&htim4);
//	  ReadDisA = ReadDisA + SPDA;
//	  ReadDisB = ReadDisB + SPDB;
//	  __HAL_TIM_SET_COUNTER(&htim8,0);
//	  __HAL_TIM_SET_COUNTER(&htim4,0);
//  }
//  else Timec ++;
/* USER CODE END Callback 1 */
}

void _Error_Handler(char * file, int line)
{
  while(1)
  {
  }
}

/************************ (C) COPYRIGHT STMicroelectronics *****END OF FILE****/
